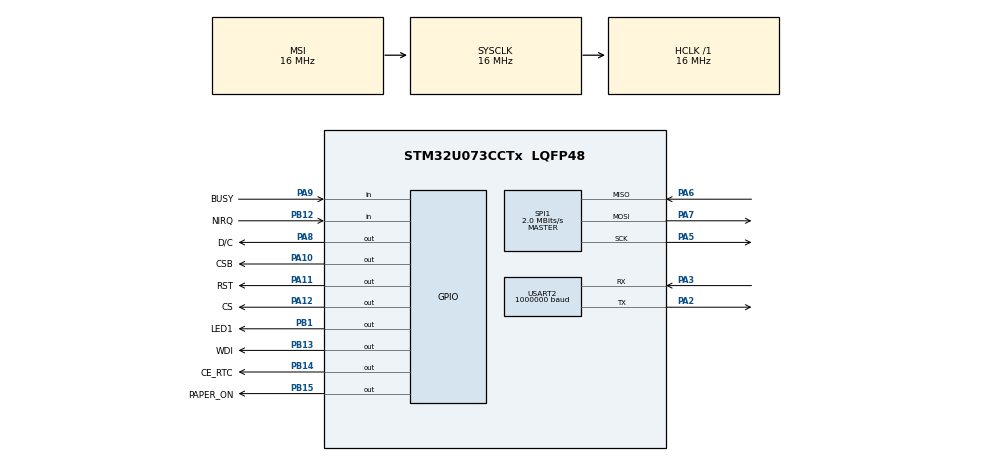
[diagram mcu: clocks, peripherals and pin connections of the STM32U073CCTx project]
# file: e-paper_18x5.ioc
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ADC1.Channel-0\#ChannelRegularConversion=ADC_CHANNEL_VBAT
ADC1.NbrOfConversion=1
ADC1.NbrOfConversionFlag=1
ADC1.OversamplingMode=ENABLE
ADC1.Rank-0\#ChannelRegularConversion=1
ADC1.RankArg-0\#ChannelRegularConversion=ADC_REGULAR_RANK_1
ADC1.Ratio=ADC_OVERSAMPLING_RATIO_8
ADC1.RightBitShift=ADC_RIGHTBITSHIFT_3
ADC1.SamplingTime-0\#ChannelRegularConversion=ADC_SAMPLINGTIME_COMMON_1
ADC1.SamplingTimeCommon1=ADC_SAMPLETIME_19CYCLES_5
ADC1.SamplingTimeCommon2=ADC_SAMPLETIME_79CYCLES_5
ADC1.SelectedChannel=ADC_CHANNEL_VBAT
ADC1.master=1
Mcu.Family=STM32U0
Mcu.Name=STM32U073CCTx
Mcu.Package=LQFP48
NVIC.PriorityGroup=NVIC_PRIORITYGROUP_2
NVIC.RTC_TAMP_IRQn=true\:0\:0\:false\:false\:true\:true\:true\:true
PA10.GPIO_Label=CSB
PA10.PinState=GPIO_PIN_SET
PA10.Signal=GPIO_Output
PA11\ [PA9].GPIO_Label=RST
PA11\ [PA9].Signal=GPIO_Output
PA12\ [PA10].GPIO_Label=CS
PA12\ [PA10].PinState=GPIO_PIN_SET
PA12\ [PA10].Signal=GPIO_Output
PA13\ (SWDIO).Mode=Serial_Wire
PA13\ (SWDIO).Signal=DEBUG_JTMS-SWDIO
PA14\ (SWCLK).Mode=Serial_Wire
PA14\ (SWCLK).Signal=DEBUG_JTCK-SWCLK
PA2.Mode=Asynchronous
PA2.Signal=USART2_TX
PA3.Mode=Asynchronous
PA3.Signal=USART2_RX
PA5.Mode=Full_Duplex_Master
PA5.Signal=SPI1_SCK
PA6.Mode=Full_Duplex_Master
PA6.Signal=SPI1_MISO
PA7.Mode=Full_Duplex_Master
PA7.Signal=SPI1_MOSI
PA8.GPIO_Label=D/C
PA8.Signal=GPIO_Output
PA9.GPIO_Label=BUSY
PA9.Signal=GPIO_Input
PB1.GPIO_Label=LED1
PB1.Signal=GPIO_Output
PB12.GPIO_Label=NIRQ
PB12.Signal=GPIO_Input
PB13.GPIO_Label=WDI
PB13.Signal=GPIO_Output
PB14.GPIO_Label=CE_RTC
PB14.GPIO_Speed=GPIO_SPEED_FREQ_MEDIUM
PB14.PinState=GPIO_PIN_SET
PB14.Signal=GPIO_Output
PB15.GPIO_Label=PAPER_ON
PB15.Signal=GPIO_Output
ProjectManager.HeapSize=0x1500
ProjectManager.StackSize=0x400
ProjectManager.TargetToolchain=STM32CubeIDE
RCC.AHBFreq_Value=16000000
RCC.CortexFreq_Value=16000000
RCC.HCLKFreq_Value=16000000
RCC.HSE_VALUE=4000000
RCC.HSI48_VALUE=48000000
RCC.HSI_VALUE=16000000
RCC.LSE_VALUE=32768
RCC.MSIClockRangeVal=RCC_MSIRANGE_8
RCC.MSI_VALUE=16000000
RCC.PLLSourceVirtual=RCC_PLLSOURCE_MSI
RCC.SYSCLKFreq_VALUE=16000000
RCC.SYSCLKSource=RCC_SYSCLKSOURCE_MSI
RCC.USBFreq_Value=16000000
RCC.VCOOutputFreq_Value=64000000
RTC.WakeUpClock-WakeUp=RTC_WAKEUPCLOCK_CK_SPRE_16BITS
RTC.WakeUpCounter-WakeUp=60
SPI1.BaudRatePrescaler=SPI_BAUDRATEPRESCALER_8
SPI1.CalculateBaudRate=2.0 MBits/s
SPI1.DataSize=SPI_DATASIZE_8BIT
SPI1.Direction=SPI_DIRECTION_2LINES
SPI1.Mode=SPI_MODE_MASTER
SPI1.VirtualType=VM_MASTER
USART2.BaudRate=1000000
USART2.VirtualMode-Asynchronous=VM_ASYNC
VP_ADC1_Vbat_Input.Mode=IN-Vbat
VP_PWR_VS_LPOM.Mode=PowerOptimisation
VP_PWR_VS_SECSignals.Mode=Security/Privilege
VP_RTC_VS_RTC_Activate.Mode=RTC_Enabled
VP_RTC_VS_RTC_WakeUp_intern.Mode=WakeUp
board=custom

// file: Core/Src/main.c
/* USER CODE BEGIN Header */
/**
 ******************************************************************************
 * @file           : main.c
 * @brief          : Main program body
 ******************************************************************************
 * @attention
 *
 * Copyright (c) 2024 STMicroelectronics.
 * All rights reserved.
 *
 * This software is licensed under terms that can be found in the LICENSE file
 * in the root directory of this software component.
 * If no LICENSE file comes with this software, it is provided AS-IS.
 *
 * *	Version: 1.2
 *
 *	Optimization -O3
 *
 ******************************************************************************
 */
/* USER CODE END Header */
#include "main.h"
#include "adc.h"
#include "rtc.h"
#include "spi.h"
#include "usart.h"
#include "gpio.h"

/* USER CODE BEGIN Includes */

#include "stm32u0xx_ll_spi.h"
#include "AB1805_RK.h"

#include "bme280.h"
#include "bme280_utils.h"

#include "paint_sensor.h"
#include "EPD_1in54_V2.h"

/* USER CODE END Includes */

/* USER CODE BEGIN PD */
#define H_OLD_RAM_ADDRESS 0x40
#define T_OLD_RAM_ADDRESS 0x42
#define VBAT_OLD_RAM_ADDRESS 0x44
#define OUTPUT_FLAG_ADDRESS 0x46
#define EPD_INITIALIZED_FLAG_ADDRESS 0x48

#define UNDERVOLTAGE 220
#define OUTPUT_PERIOD 16
#define BAT_OUTPUT_MAX_PERIOD 30
#define SLEEP_TIME_SEC 60

#define MAGIC_WORD_1 0xa0

/* USER CODE END PD */

/* USER CODE BEGIN PV */

struct bme280_dev dev;
extern struct bme280_data comp_data;
int8_t reslt = BME280_OK;
uint32_t req_delay = 0;

uint16_t H_old = 0;
uint16_t T_old = 0;
uint16_t vbat_old = 0;
uint8_t epd_initialized_flag = 0;

extern UBYTE *BlackImage;
/* USER CODE END PV */

void SystemClock_Config(void);
/* USER CODE BEGIN PFP */
int8_t stream_sensor_data_forced_mode(struct bme280_dev *dev);
bool read_RTCRam(uint8_t address, uint16_t *read_data, bool lock);
bool write_ToRTCRam(uint8_t address, uint16_t write_data, bool lock);
void go_down(uint16_t vBat);

/* USER CODE END PFP */

int main(void)
{

  /* USER CODE BEGIN 1 */

  volatile int8_t rslt;
  uint8_t dev_addr = 0;
  dev.intf_ptr = &dev_addr;
  dev.intf = BME280_SPI_INTF;
  dev.read = user_spi_read;
  dev.write = user_spi_write;
  dev.delay_us = user_delay_us;

  /* USER CODE END 1 */

  /* MCU Configuration--------------------------------------------------------*/

  /* Reset of all peripherals, Initializes the Flash interface and the Systick. */
  HAL_Init();

  /* USER CODE BEGIN Init */
  uint16_t h_;
  uint16_t t_;
  uint16_t output_flag;

  uint8_t temperature_new = 0;
  uint8_t battery_new = 0;
  uint8_t humidity_new = 0;

  /* USER CODE END Init */

  /* Configure the system clock */
  SystemClock_Config();

  /* Initialize all configured peripherals */
  MX_GPIO_Init();
  MX_ADC1_Init();
  MX_RTC_Init();
  MX_SPI1_Init();
  MX_USART2_UART_Init();
  /* USER CODE BEGIN 2 */

  LL_DBGMCU_DisableDBGStopMode(); // !!!__ Disable debug in stop mode __!!!
                                  //	LL_DBGMCU_EnableDBGStopMode();
  // LED1_ON();

  LL_SPI_Enable(SPI1);

  //  ==============___ Power ON __=======================
  // Use 0x0E - Weekday Alarm registry 4 bits to detect first time power on
  // write MAGIC_WORD_1 to REG_WEEKDAY_ALARM general purpuse upper bits
  uint8_t wdalarm = read(REG_WEEKDAY_ALARM); // REG_WEEKDAY_ALARM = 0x0e;
  if ((wdalarm & 0xf8) != 0xa0)      // *** Startup from power on *** ((wdalarm & 0xf8) != 0xa0)
  {
    uint32_t clk = HAL_RCC_GetSysClockFreq();
    printf("\nMAIN. First power ON.   %d\n", clk);
    HAL_Delay(3000); // AB1805 after ~3 sec start communicate with controller

    output_flag = (OUTPUT_PERIOD); // For first time output must be bigger 15
    resetConfig(0);
    write(REG_WEEKDAY_ALARM, MAGIC_WORD_1); // Magic word = 0xa0
    printf("wdalarm = 0x%x\n", read(REG_WEEKDAY_ALARM));

    writeRam(H_OLD_RAM_ADDRESS, 0, 1, 0);
    writeRam(T_OLD_RAM_ADDRESS, 0, 1, 0);
    writeRam(VBAT_OLD_RAM_ADDRESS, 0, 1, 0);
  }
  else
  {
    read_RTCRam(OUTPUT_FLAG_ADDRESS, &output_flag, 1); // Read output_flag from RTC RAM
    output_flag++;
    write_ToRTCRam(OUTPUT_FLAG_ADDRESS, output_flag, 1); // save output_flag
    printf("\nMAIN. Startup from RTC\n");

    read_RTCRam(H_OLD_RAM_ADDRESS, &H_old, 0);
    read_RTCRam(T_OLD_RAM_ADDRESS, &T_old, 0);
    epd_initialized_flag = read(EPD_INITIALIZED_FLAG_ADDRESS); // uint8_t
  }

  // ##################________measureBME280_________#########################

  dev.settings.osr_h = BME280_OVERSAMPLING_1X;
  dev.settings.osr_p = BME280_NO_OVERSAMPLING; // UINT8_C(0x00)
  dev.settings.osr_t = BME280_OVERSAMPLING_2X;
  dev.settings.filter = BME280_FILTER_COEFF_OFF;

  rslt = bme280_init(&dev);
  if (rslt != BME280_OK) // OK = 0
  {
    printf("Failed to initialize the device (code %+d).\n", rslt);
    Error_Handler();
  }

  rslt = bme280_set_sensor_settings(BME280_OSR_PRESS_SEL | BME280_OSR_TEMP_SEL | BME280_OSR_HUM_SEL | BME280_FILTER_SEL, &dev);
  /*Calculate the minimum delay (ms) required between consecutive measurement based upon the sensor enabled
   *  and the oversampling configuration. */
  req_delay = bme280_cal_meas_delay(&dev.settings);
  // printf("req_delay = %d\n", req_delay);

  rslt = stream_sensor_data_forced_mode(&dev); // working time = 0.8 sec
  if (rslt != BME280_OK)
  {
    fprintf(stderr, "Failed to stream sensor data (code %+d).", rslt);
    Error_Handler();
  }
   h_ = comp_data.humidity / 1000.0;
  // h_ = (((uint16_t)comp_data.humidity * 1049 + 500) >> 20); // fast_divide_by_1000

  t_ = comp_data.temperature / 10.0;
  // t_ = (((uint16_t)comp_data.temperature * 6554 + 2) >> 16); // fast_divide_by_10

  printf("h_ = %d   h_old = %d   t_ = %d   t_old = %d\n", h_, H_old, t_, T_old);

  // #####################_____  END measure BME280  ____###########################

  int32_t vBat;
  if (t_ != T_old)
  {
    // Temperature need output
    write_ToRTCRam(T_OLD_RAM_ADDRESS, t_, 1);
    temperature_new = 1;
  }
  printf("output_flag: %d\n", output_flag);
  if (output_flag > 15)
  {
    output_flag = 0;
    if (h_ != H_old) // output Vbat and Hum after every 15 min;
    {
      write_ToRTCRam(H_OLD_RAM_ADDRESS, h_, 1); // write h_
      humidity_new = 1;
    }

    Activate_ADC();
    vBat = get_vbat();
    read_RTCRam(VBAT_OLD_RAM_ADDRESS, &vbat_old, 0);
    // vBat = vBat / 10.0; // go with 3 digits
    vBat = ((uint32_t)vBat * 6554 + 2) >> 16; // fast_divide_by_10
    printf("vBat = %d, vbat_old = %d\n", vBat, vbat_old);

    if (vBat < UNDERVOLTAGE) // #define UNDERVOLTAGE 220
    {
      final_message(vBat);
      go_down(vBat); // shutdown forever  ****  R E W R I T E !!!   *****
    }

    if (vBat != vbat_old) // it's going to output
    {
      write_ToRTCRam(VBAT_OLD_RAM_ADDRESS, vBat, 1); // write vbat_old = vBat
      battery_new = 1;
    }
  }
  if (temperature_new | humidity_new | battery_new)
  {
    PAPER_ON();
    if (epd_initialized_flag == 0)
    {
      ESP_Init();               // e-paper full initialization
      epd_initialized_flag = 1; // Flag that ESP is initialized, to do it only once
      write(EPD_INITIALIZED_FLAG_ADDRESS, epd_initialized_flag);
      printf("epd_initialized_flag = 0x%x\n", read(EPD_INITIALIZED_FLAG_ADDRESS));
    }
    else
    {
      EPD_1IN54_V2_Reset();
      ESP_Init_after_sleep(); // Initialize after deep power down
    }

    if (temperature_new)
    {
      temperature_out(t_);
    }
    if (battery_new)
    {
      battery_out(vBat);
      output_flag = 0;
    }
    if (humidity_new)
    {
      humidity_out(h_);
      output_flag = 0;
    }

    EPD_1IN54_V2_DisplayPart(BlackImage);
    // EPD_1IN54_V2_Sleep(); // No need for Deep sleep mode
    PAPER_OFF(); // e-Paper power OFF (???)
  }

  deepPowerDown(SLEEP_TIME_SEC); // All Power off for SLEEP_TIME_SEC , except RTC which is on

  /* USER CODE END 2 */

  /* Infinite loop */
  while (1)
  {

    /* USER CODE BEGIN 3 */
    // Never be here
    LED1_ON();
    HAL_Delay(100);
    LED1_OFF();
    HAL_Delay(100);
  }
  /* USER CODE END 3 */
}

void SystemClock_Config(void)
{
  RCC_OscInitTypeDef RCC_OscInitStruct = {0};
  RCC_ClkInitTypeDef RCC_ClkInitStruct = {0};

  /** Configure the main internal regulator output voltage
   */
  HAL_PWREx_ControlVoltageScaling(PWR_REGULATOR_VOLTAGE_SCALE2);

  /** Initializes the RCC Oscillators according to the specified parameters
   * in the RCC_OscInitTypeDef structure.
   */
  RCC_OscInitStruct.OscillatorType = RCC_OSCILLATORTYPE_LSI | RCC_OSCILLATORTYPE_MSI;
  RCC_OscInitStruct.LSIState = RCC_LSI_ON;
  RCC_OscInitStruct.MSIState = RCC_MSI_ON;
  RCC_OscInitStruct.MSICalibrationValue = RCC_MSICALIBRATION_DEFAULT;
  RCC_OscInitStruct.MSIClockRange = RCC_MSIRANGE_8;
  RCC_OscInitStruct.PLL.PLLState = RCC_PLL_NONE;
  if (HAL_RCC_OscConfig(&RCC_OscInitStruct) != HAL_OK)
  {
    Error_Handler();
  }

  /** Initializes the CPU, AHB and APB buses clocks
   */
  RCC_ClkInitStruct.ClockType = RCC_CLOCKTYPE_HCLK | RCC_CLOCKTYPE_SYSCLK | RCC_CLOCKTYPE_PCLK1;
  RCC_ClkInitStruct.SYSCLKSource = RCC_SYSCLKSOURCE_MSI;
  RCC_ClkInitStruct.AHBCLKDivider = RCC_SYSCLK_DIV1;
  RCC_ClkInitStruct.APB1CLKDivider = RCC_HCLK_DIV1;

  if (HAL_RCC_ClockConfig(&RCC_ClkInitStruct, FLASH_LATENCY_1) != HAL_OK)
  {
    Error_Handler();
  }
}

/* USER CODE BEGIN 4 */

// Function to read a uint16_t value from RTC RAM
bool read_RTCRam(uint8_t address, uint16_t *read_data, bool lock)
{
  // Create a buffer to hold the data to be read
  uint8_t data[sizeof(uint16_t)];

  // Call the driver's readRam function
  if (!readRam(address, (uint8_t *)data, sizeof(data), lock))
  {
    // If the read operation fails, return false
    return false;
  }

  // Combine the two bytes into a uint16_t value
  *read_data = (uint16_t)data[0] | ((uint16_t)data[1] << 8);

  return true;
}

// Function to write a uint16_t value to RTC RAM
bool write_ToRTCRam(uint8_t address, uint16_t write_data, bool lock)
{
  // Create a buffer to hold the data to be written
  uint8_t data[sizeof(uint16_t)];

  // Split the uint16_t value into two bytes
  data[0] = (uint8_t)(write_data & 0xFF);        // Lower byte
  data[1] = (uint8_t)((write_data >> 8) & 0xFF); // Upper byte

  // Call the driver's writeRam function
  return writeRam(address, (uint8_t *)data, sizeof(data), lock);
}

// Function to print timeout errors
void print_error(const char *func, uint32_t line)
{
  printf(" *** Error:  %s ,   %d\n", func, line);
  HAL_Delay(100);
  timeout_reset(__func__, __LINE__);
}

void timeout_reset(const char *func, uint32_t line)
{
  printf(" *** timeout_reset:  %s    %d\n", func, line);
  HAL_Delay(10);
  deepPowerDown(10);
}

// Read BME280 data
int8_t stream_sensor_data_forced_mode(struct bme280_dev *dev)
{
  reslt = bme280_set_sensor_mode(BME280_FORCED_MODE, dev);
  /* Wait for the measurement to complete and print data  */

  HAL_Delay(req_delay); // 9 ms !!!
  reslt = bme280_get_sensor_data(BME280_TEMP | BME280_HUM, &comp_data, dev);
  return reslt;
}

void go_down(uint16_t vBat)
{
  /* S H U T   D O W N */

  printf("Go down\n");
  printf("Clear...\r\n");
  final_message(vBat);

  // Turn all power off, exept the RTC.
  // Code must be inserted here !
  // write RTC_Register Magic2
  // First at main check Magic2, if true  deepPowerDown
  // deepPowerDown(255); // need minutes
}

/* USER CODE END 4 */

void Error_Handler(void)
{
  __disable_irq();
  while (1)
  {
  }
}
